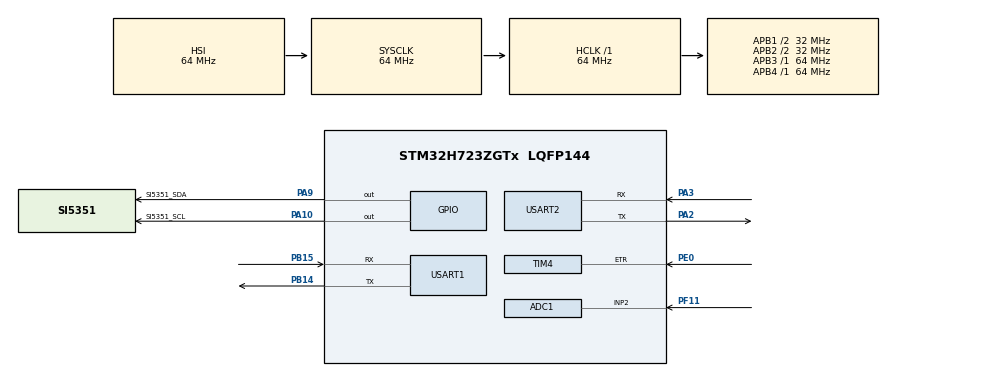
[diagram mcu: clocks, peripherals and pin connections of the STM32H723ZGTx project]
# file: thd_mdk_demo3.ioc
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ADC1.Channel-0\#ChannelRegularConversion=ADC_CHANNEL_2
ADC1.ConversionDataManagement=ADC_CONVERSIONDATA_DMA_ONESHOT
ADC1.ExternalTrigConv=ADC_EXTERNALTRIG_T4_TRGO
ADC1.NbrOfConversionFlag=1
ADC1.OffsetNumber-0\#ChannelRegularConversion=ADC_OFFSET_NONE
ADC1.OffsetSignedSaturation-0\#ChannelRegularConversion=DISABLE
ADC1.Rank-0\#ChannelRegularConversion=1
ADC1.SamplingTime-0\#ChannelRegularConversion=ADC_SAMPLETIME_1CYCLE_5
ADC1.master=1
CORTEX_M7.default_mode_Activation=1
Dma.ADC1.0.Direction=DMA_PERIPH_TO_MEMORY
Dma.ADC1.0.EventEnable=DISABLE
Dma.ADC1.0.FIFOMode=DMA_FIFOMODE_DISABLE
Dma.ADC1.0.Instance=DMA1_Stream0
Dma.ADC1.0.MemDataAlignment=DMA_MDATAALIGN_HALFWORD
Dma.ADC1.0.MemInc=DMA_MINC_ENABLE
Dma.ADC1.0.Mode=DMA_NORMAL
Dma.ADC1.0.PeriphDataAlignment=DMA_PDATAALIGN_HALFWORD
Dma.ADC1.0.PeriphInc=DMA_PINC_DISABLE
Dma.ADC1.0.Polarity=HAL_DMAMUX_REQ_GEN_RISING
Dma.ADC1.0.Priority=DMA_PRIORITY_LOW
Dma.ADC1.0.RequestNumber=1
Dma.ADC1.0.SignalID=NONE
Dma.ADC1.0.SyncEnable=DISABLE
Dma.ADC1.0.SyncPolarity=HAL_DMAMUX_SYNC_NO_EVENT
Dma.ADC1.0.SyncRequestNumber=1
Dma.ADC1.0.SyncSignalID=NONE
Dma.Request0=ADC1
Dma.Request1=USART1_RX
Dma.USART1_RX.1.Direction=DMA_PERIPH_TO_MEMORY
Dma.USART1_RX.1.EventEnable=DISABLE
Dma.USART1_RX.1.FIFOMode=DMA_FIFOMODE_DISABLE
Dma.USART1_RX.1.Instance=DMA1_Stream1
Dma.USART1_RX.1.MemDataAlignment=DMA_MDATAALIGN_BYTE
Dma.USART1_RX.1.MemInc=DMA_MINC_ENABLE
Dma.USART1_RX.1.Mode=DMA_NORMAL
Dma.USART1_RX.1.PeriphDataAlignment=DMA_PDATAALIGN_BYTE
Dma.USART1_RX.1.PeriphInc=DMA_PINC_DISABLE
Dma.USART1_RX.1.Polarity=HAL_DMAMUX_REQ_GEN_RISING
Dma.USART1_RX.1.Priority=DMA_PRIORITY_LOW
Dma.USART1_RX.1.RequestNumber=1
Dma.USART1_RX.1.SignalID=NONE
Dma.USART1_RX.1.SyncEnable=DISABLE
Dma.USART1_RX.1.SyncPolarity=HAL_DMAMUX_SYNC_NO_EVENT
Dma.USART1_RX.1.SyncRequestNumber=1
Dma.USART1_RX.1.SyncSignalID=NONE
Mcu.Family=STM32H7
Mcu.Name=STM32H723ZGTx
Mcu.Package=LQFP144
NVIC.DMA1_Stream0_IRQn=true\:0\:0\:false\:false\:true\:false\:true\:true
NVIC.DMA1_Stream1_IRQn=true\:0\:0\:false\:false\:true\:false\:true\:true
NVIC.PriorityGroup=NVIC_PRIORITYGROUP_4
NVIC.USART1_IRQn=true\:0\:0\:false\:false\:true\:true\:true\:true
PA10.GPIO_Label=SI5351_SCL
PA10.GPIO_PuPd=GPIO_PULLUP
PA10.PinState=GPIO_PIN_SET
PA10.Signal=GPIO_Output
PA13(JTMS/SWDIO).Mode=Serial_Wire
PA13(JTMS/SWDIO).Signal=DEBUG_JTMS-SWDIO
PA14(JTCK/SWCLK).Mode=Serial_Wire
PA14(JTCK/SWCLK).Signal=DEBUG_JTCK-SWCLK
PA2.Mode=Asynchronous
PA2.Signal=USART2_TX
PA3.Mode=Asynchronous
PA3.Signal=USART2_RX
PA9.GPIO_Label=SI5351_SDA
PA9.GPIO_PuPd=GPIO_PULLUP
PA9.PinState=GPIO_PIN_SET
PA9.Signal=GPIO_Output
PB14.Mode=Asynchronous
PB14.Signal=USART1_TX
PB15.Mode=Asynchronous
PB15.Signal=USART1_RX
PE0.Signal=S_TIM4_ETR
PF11.Mode=IN2-Single-Ended
PF11.Signal=ADC1_INP2
PH0-OSC_IN.Mode=HSE-External-Clock-Source
PH0-OSC_IN.Signal=RCC_OSC_IN
ProjectManager.HeapSize=0x200
ProjectManager.StackSize=0x400
ProjectManager.TargetToolchain=MDK-ARM V5.32
RCC.ADCFreq_Value=38400000
RCC.APB1Freq_Value=32000000
RCC.APB2Freq_Value=32000000
RCC.APB3Freq_Value=64000000
RCC.APB4Freq_Value=64000000
RCC.CortexFreq_Value=64000000
RCC.D2PPRE1=RCC_APB1_DIV2
RCC.D2PPRE2=RCC_APB2_DIV2
RCC.DIVM2=4
RCC.DIVN2=12
RCC.DIVP2=5
RCC.HCLKFreq_Value=64000000
RCC.PLL2FRACN=0
RCC.SYSCLKFreq_VALUE=64000000
RCC.USBFreq_Value=129000000
SH.S_TIM4_ETR.0=TIM4_ETR,ClockSourceETR_Mode2
TIM4.AutoReloadPreload=TIM_AUTORELOAD_PRELOAD_ENABLE
TIM4.Period=1
TIM4.TIM_MasterOutputTrigger=TIM_TRGO_UPDATE
USART1.VirtualMode-Asynchronous=VM_ASYNC
USART2.VirtualMode-Asynchronous=VM_ASYNC
VP_MEMORYMAP_VS_MEMORYMAP.Mode=CurAppReg
board=custom

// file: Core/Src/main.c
/* USER CODE BEGIN Header */
/**
 ******************************************************************************
 * @file           : main.c
 * @brief          : Main program body
 ******************************************************************************
 * @attention
 *
 * Copyright (c) 2026 STMicroelectronics.
 * All rights reserved.
 *
 * This software is licensed under terms that can be found in the LICENSE file
 * in the root directory of this software component.
 * If no LICENSE file comes with this software, it is provided AS-IS.
 *
 ******************************************************************************
 */
/* USER CODE END Header */
#include "main.h"
#include "adc.h"
#include "dma.h"
#include "tim.h"
#include "usart.h"
#include "gpio.h"

/* USER CODE BEGIN Includes */
#include <stdio.h>
#include <stdlib.h>
#include "SI5351.h"
#include "difft.h"
#include "tjc_usart_hmi.h"
#include "AdcProc.h"
/* USER CODE END Includes */

/* USER CODE BEGIN PTD */
DIFFT_Result difftResult; // difft结果，结构体定义在difft.h
/* USER CODE END PTD */

/* USER CODE BEGIN PD */
#define usartRx 100    // 串口接受缓冲区大小
#define sampleLEN 2048 // 采样点数
#define showPoints 120 // 设定发送点数，通过平均降采样实现平滑
/* USER CODE END PD */

/* USER CODE BEGIN PV */
__IO uint8_t AdcConvEnd = 0; // ADC转换完成标志
__IO uint8_t difftEnd = -1;  // 0：difft完成，-1：difft失败
__IO uint8_t SystemFlag = 0; // 系统工作标志位，0-空转，1-工作

uint8_t RxBuffer[usartRx];     // 接收缓冲区
uint16_t ADCBuffer[sampleLEN]; // ADC数据缓冲区

float Fs_h5 = 0.0f;      // 五次谐波专用采样率
float A5_special = 0.0f; // 五次谐波修正幅值

uint32_t SampleRate = 1300000; // 初始采样率

/* USER CODE END PV */

void SystemClock_Config(void);
static void MPU_Config(void);
/* USER CODE BEGIN PFP */
void SetSampleRate(uint32_t sampleRate);
void toShow(uint16_t *ADCBuffer, uint16_t LEN);
/* USER CODE END PFP */

int main(void)
{

  /* MPU Configuration--------------------------------------------------------*/
  MPU_Config();

  /* MCU Configuration--------------------------------------------------------*/

  /* Reset of all peripherals, Initializes the Flash interface and the Systick. */
  HAL_Init();

  /* Configure the system clock */
  SystemClock_Config();

  /* Initialize all configured peripherals */
  MX_GPIO_Init();
  MX_DMA_Init();
  MX_ADC1_Init();
  MX_TIM4_Init();
  MX_USART1_UART_Init();
  MX_USART2_UART_Init();
  /* USER CODE BEGIN 2 */
  // 串口不定长数据接收
  HAL_UARTEx_ReceiveToIdle_DMA(&huart1, RxBuffer, usartRx); // 启动DMA接收，接收完成后触发空闲中断
  __HAL_DMA_DISABLE_IT(huart1.hdmarx, DMA_IT_HT);           // 关闭DMA半传输中断

  // 定时器外部时钟源配置
  SI5351_Init();             // SI5351初始化
  SetSampleRate(SampleRate); // 设置采样率,单位Hz
  HAL_Delay(10);             // 等待SI5351锁定,不加也行

  /* USER CODE END 2 */

  /* Infinite loop */
  while (1)
  {

    /* USER CODE BEGIN 3 */
    if (SystemFlag == 1)
    {
      AdcConvEnd = 0;             // 刷新DMA结束标志位
      HAL_TIM_Base_Start(&htim4); // 开启定时器4

      // 开启ADC采集，结束后触发终端回调函数HAL_ADC_ConvCpltCallback
      HAL_ADC_Start_DMA(&hadc1, (uint32_t *)ADCBuffer, sampleLEN);

      while (!AdcConvEnd) // 等待转换完毕
        ;

      difftEnd = difft_run_adc(ADCBuffer, sampleLEN, SampleRate, 0.4f, &difftResult);

      /*低频下，采样率策略*/
      if (difftResult.f < 5000)
      {
        SampleRate = 100000;
        SetSampleRate(SampleRate);
      }
      else if (difftResult.f > 6000)
      {
        SampleRate = 1300000;
        SetSampleRate(SampleRate); // 高频信号调整采样率
      }

			// 向串口屏和蓝牙发送波形
			toShow(ADCBuffer, sampleLEN);

      /*高频下，采样率策略*/
      if (difftResult.f > 20000)
      {
        float Fs_h5 = roundf(4.2f * difftResult.f);

        if (Fs_h5 < 200000)
          Fs_h5 = 200000;
        if (Fs_h5 > 1000000)
          Fs_h5 = 1000000;

        SetSampleRate(Fs_h5);

        AdcConvEnd = 0;
        HAL_TIM_Base_Start(&htim4);
        HAL_ADC_Start_DMA(&hadc1, (uint32_t *)ADCBuffer, sampleLEN);
        while (!AdcConvEnd)
          ;

        float A5;
        if (difft_measure_harmonic_alias(ADCBuffer, sampleLEN, difftResult.f, &Fs_h5, 5, &A5) == 0)
        {
          difftResult.Amp[4] = A5;
          difftResult.harmonicNorm.h5 = A5 / difftResult.Amp[0];
          compute_thd(&difftResult.harmonicNorm);
        }
        SampleRate = 1300000;
        SetSampleRate(SampleRate);
      }

      /*发送串口屏 */
      TJCPrintf(&huart1, "b4.txt=\"%d Hz\"", (uint16_t)difftResult.f); // 信号基频
      TJCPrintf(&huart1, "b5.txt=\"%d mV\"", (uint16_t)(difftResult.vpp_mv*1.19)); // 基波峰峰值

      TJCPrintf(&huart1, "t7.txt=\"%.4f\"", 1);
      TJCPrintf(&huart1, "t8.txt=\"%.4f\"", difftResult.harmonicNorm.h2);
      TJCPrintf(&huart1, "t9.txt=\"%.4f\"", difftResult.harmonicNorm.h3);
      TJCPrintf(&huart1, "t10.txt=\"%.4f\"", difftResult.harmonicNorm.h4);
      TJCPrintf(&huart1, "t11.txt=\"%.4f\"", difftResult.harmonicNorm.h5);
      TJCPrintf(&huart1, "t12.txt=\"%.4f\"", difftResult.harmonicNorm.thd);

      if (difftResult.wavetype == 0)
      {
        TJCPrintf(&huart1, "b6.txt=\"周期波\"");
      }
      else if (difftResult.wavetype == 1)
      {
        TJCPrintf(&huart1, "b6.txt=\"正弦波\"");
      }
      else if (difftResult.wavetype == 2)
      {
        TJCPrintf(&huart1, "b6.txt=\"三角波\"");
      }
      else if (difftResult.wavetype == 3)
      {
        TJCPrintf(&huart1, "b6.txt=\"方波\"");
      }

      /*发送蓝牙 */
      TJCPrintf(&huart2, "t0.txt=\"%d\"", (uint16_t)difftResult.f);      // 信号基频,hz
      TJCPrintf(&huart2, "t1.txt=\"%d\"", (uint16_t)(difftResult.vpp_mv*0.595)); // 基波幅值,mv

      TJCPrintf(&huart2, "t2.txt=\"%.2f\"", difftResult.harmonicNorm.h2*100);// 单位%
      TJCPrintf(&huart2, "t3.txt=\"%.2f\"", difftResult.harmonicNorm.h3*100);
      TJCPrintf(&huart2, "t4.txt=\"%.2f\"", difftResult.harmonicNorm.h4*100);
      TJCPrintf(&huart2, "t5.txt=\"%.2f\"", difftResult.harmonicNorm.h5*100);
      TJCPrintf(&huart2, "t6.txt=\"%.2f\"", difftResult.harmonicNorm.thd*100);
    }
  }
  /* USER CODE END 3 */
}

void SystemClock_Config(void)
{
  RCC_OscInitTypeDef RCC_OscInitStruct = {0};
  RCC_ClkInitTypeDef RCC_ClkInitStruct = {0};

  /** Supply configuration update enable
  */
  HAL_PWREx_ConfigSupply(PWR_LDO_SUPPLY);

  /** Configure the main internal regulator output voltage
  */
  __HAL_PWR_VOLTAGESCALING_CONFIG(PWR_REGULATOR_VOLTAGE_SCALE3);

  while(!__HAL_PWR_GET_FLAG(PWR_FLAG_VOSRDY)) {}

  /** Macro to configure the PLL clock source
  */
  __HAL_RCC_PLL_PLLSOURCE_CONFIG(RCC_PLLSOURCE_HSI);

  /** Initializes the RCC Oscillators according to the specified parameters
  * in the RCC_OscInitTypeDef structure.
  */
  RCC_OscInitStruct.OscillatorType = RCC_OSCILLATORTYPE_HSI;
  RCC_OscInitStruct.HSIState = RCC_HSI_DIV1;
  RCC_OscInitStruct.HSICalibrationValue = 64;
  RCC_OscInitStruct.PLL.PLLState = RCC_PLL_NONE;
  if (HAL_RCC_OscConfig(&RCC_OscInitStruct) != HAL_OK)
  {
    Error_Handler();
  }

  /** Initializes the CPU, AHB and APB buses clocks
  */
  RCC_ClkInitStruct.ClockType = RCC_CLOCKTYPE_HCLK|RCC_CLOCKTYPE_SYSCLK
                              |RCC_CLOCKTYPE_PCLK1|RCC_CLOCKTYPE_PCLK2
                              |RCC_CLOCKTYPE_D3PCLK1|RCC_CLOCKTYPE_D1PCLK1;
  RCC_ClkInitStruct.SYSCLKSource = RCC_SYSCLKSOURCE_HSI;
  RCC_ClkInitStruct.SYSCLKDivider = RCC_SYSCLK_DIV1;
  RCC_ClkInitStruct.AHBCLKDivider = RCC_HCLK_DIV1;
  RCC_ClkInitStruct.APB3CLKDivider = RCC_APB3_DIV1;
  RCC_ClkInitStruct.APB1CLKDivider = RCC_APB1_DIV2;
  RCC_ClkInitStruct.APB2CLKDivider = RCC_APB2_DIV2;
  RCC_ClkInitStruct.APB4CLKDivider = RCC_APB4_DIV1;

  if (HAL_RCC_ClockConfig(&RCC_ClkInitStruct, FLASH_LATENCY_1) != HAL_OK)
  {
    Error_Handler();
  }
}

/* USER CODE BEGIN 4 */

// 重写UART接收完成回调函数
void HAL_UARTEx_RxEventCallback(UART_HandleTypeDef *huart, uint16_t Size)
{
  if (huart->Instance != USART1)
    return;

  if (RxBuffer[0] == 0x01 && RxBuffer[1] == 0x11)
  {
    SystemFlag = 1;
  }
  else if (RxBuffer[0] == 0x01 && RxBuffer[1] == 0x12)
  {
    SystemFlag = 0;
  }

  HAL_UARTEx_ReceiveToIdle_DMA(huart, RxBuffer, usartRx);
  __HAL_DMA_DISABLE_IT(huart->hdmarx, DMA_IT_HT);
}

// ADC转换完成回调
void HAL_ADC_ConvCpltCallback(ADC_HandleTypeDef *hadc)
{
  if (hadc->Instance == ADC1) // 检查触发中断的ADC身份
  {
    AdcConvEnd = 1;            // 设置DMA结束标志位
    HAL_TIM_Base_Stop(&htim4); // 关闭定时器
  }
}

void toShow(uint16_t *ADCBuffer, uint16_t LEN)
{
  uint16_t cycleLen = 0;

  // 1. 提取一个周期的采样点
  // 注意：此函数内部 malloc 分配内存，必须手动 free
  uint16_t *oneCycleData = find_one_cycle(ADCBuffer, LEN, &cycleLen);

  if (oneCycleData == NULL)
  {
    // printf("未找到完整周期\n");
    return;
  }

  // 2. 将电压值等比例缩放到 0 - 200 范围
  // 这样做可以确保无论原始采样精度如何，最终输出都在 0-170 之间
  scale_array(oneCycleData, cycleLen, 0, 170);

  // 3. 自适应重采样：无论原始周期有多少点，统一变换为 200 点输出

  uint16_t sendBuffer[showPoints]; // 最终发送缓冲区，大小为 showPoints

  resample_u16(oneCycleData, cycleLen, sendBuffer, showPoints);

  // 4. 发送数据
  for (int i = 0; i < showPoints; i++)
  {
    TJCPrintf(&huart1,"add s0.id,0,%d", sendBuffer[i]);
    TJCPrintf(&huart2,"add s0.id,0,%d", sendBuffer[i]);
    HAL_Delay(5); // 适当延时，确保数据发送稳定
  }

  // 5. 必须释放 find_one_cycle 申请的堆空间
  free(oneCycleData);
}

void SetSampleRate(uint32_t sampleRate)
{
  // 因为定时器TIM4重装载值为1，因此2*sampleRate的外部时钟源产生sampleRate的采样率
  SI5351_SetFrequency(SI_CLK0, 2 * sampleRate, SI_PLLA);
}

// 串口重定向，USART1
int fputc(int ch, FILE *f)
{
  uint8_t temp = (uint8_t)ch;

  // 处理换行符 \n -> \r\n
  if (ch == '\n')
  {
    HAL_UART_Transmit(&huart1, (uint8_t *)"\r", 1, 100);
  }

  HAL_UART_Transmit(&huart1, &temp, 1, 100);

  return ch;
}
/* USER CODE END 4 */

 /* MPU Configuration */

void MPU_Config(void)
{
  MPU_Region_InitTypeDef MPU_InitStruct = {0};

  /* Disables the MPU */
  HAL_MPU_Disable();

  /** Initializes and configures the Region and the memory to be protected
  */
  MPU_InitStruct.Enable = MPU_REGION_ENABLE;
  MPU_InitStruct.Number = MPU_REGION_NUMBER0;
  MPU_InitStruct.BaseAddress = 0x0;
  MPU_InitStruct.Size = MPU_REGION_SIZE_4GB;
  MPU_InitStruct.SubRegionDisable = 0x87;
  MPU_InitStruct.TypeExtField = MPU_TEX_LEVEL0;
  MPU_InitStruct.AccessPermission = MPU_REGION_NO_ACCESS;
  MPU_InitStruct.DisableExec = MPU_INSTRUCTION_ACCESS_DISABLE;
  MPU_InitStruct.IsShareable = MPU_ACCESS_SHAREABLE;
  MPU_InitStruct.IsCacheable = MPU_ACCESS_NOT_CACHEABLE;
  MPU_InitStruct.IsBufferable = MPU_ACCESS_NOT_BUFFERABLE;

  HAL_MPU_ConfigRegion(&MPU_InitStruct);
  /* Enables the MPU */
  HAL_MPU_Enable(MPU_PRIVILEGED_DEFAULT);

}

void Error_Handler(void)
{
  __disable_irq();
  while (1)
  {
  }
}
